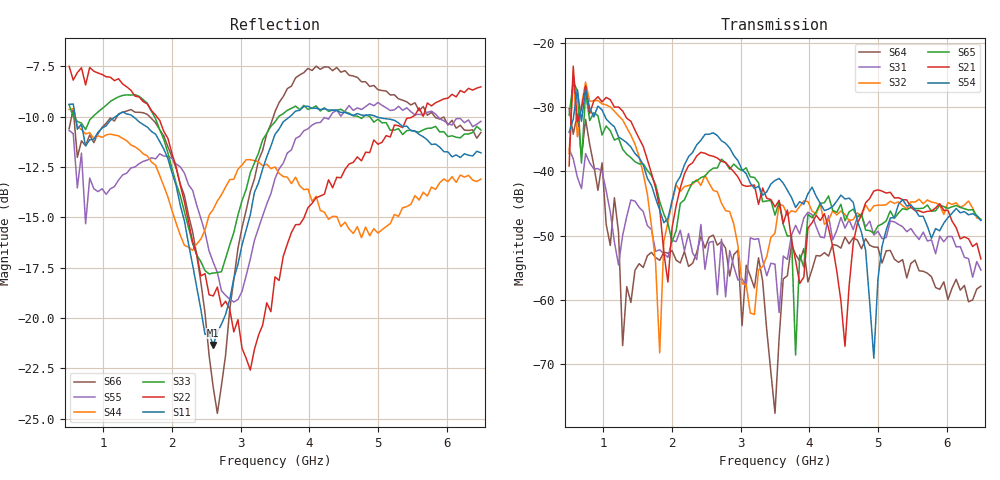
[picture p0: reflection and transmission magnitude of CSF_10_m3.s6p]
!Keysight Technologies,M9804A,MY58100912,A.14.10.03
!Date: Thursday, April 27, 2023 10:28:33
!Correction: S11(C  6-Port  )
!S12(C  6-Port  )
!S13(C  6-Port  )
!S14(C  6-Port  )
!S15(C  6-Port  )
!S16(C  6-Port  )
!S21(C  6-Port  )
!S22(C  6-Port  )
!S23(C  6-Port  )
!S24(C  6-Port  )
!S25(C  6-Port  )
!S26(C  6-Port  )
!S31(C  6-Port  )
!S32(C  6-Port  )
!S33(C  6-Port  )
!S34(C  6-Port  )
!S35(C  6-Port  )
!S36(C  6-Port  )
!S41(C  6-Port  )
!S42(C  6-Port  )
!S43(C  6-Port  )
!S44(C  6-Port  )
!S45(C  6-Port  )
!S46(C  6-Port  )
!S51(C  6-Port  )
!S52(C  6-Port  )
!S53(C  6-Port  )
!S54(C  6-Port  )
!S55(C  6-Port  )
!S56(C  6-Port  )
!S61(C  6-Port  )
!S62(C  6-Port  )
!S63(C  6-Port  )
!S64(C  6-Port  )
!S65(C  6-Port  )
!S66(C  6-Port  )
!S6P File: Measurement: :
# Hz S  RI  R 50
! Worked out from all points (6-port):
!   101 points, 500 MHz to 6.5 GHz, reference 50 ohm
!   strongest paths, dB at 500 MHz, 2 GHz, 3.5 GHz, 5 GHz, 6.5 GHz:
!     S54: -33.9, -44.5, -41.4, -56.8, -47.7
!     S21: -39.1, -48.8, -45.5, -42.9, -53.6
!     S65: -31.2, -50.9, -46.8, -48.5, -47.5
!     S32: -37.2, -44.9, -49.6, -45.3, -47.4
!     S31: -36.5, -50.8, -54.5, -49.3, -55.4
!     S64: -30.2, -52.4, -77.8, -51.8, -57.9
!   lowest |S11| = -21.3 dB at 2.6 GHz (marker M1), VSWR 1.19, Z = 42.4 + j2.2 ohm
!   |S11| at or under -10 dB: 590.2 MHz to 1.174 GHz (584.3 MHz wide, 66.2 % of centre); 1.434 GHz to 3.715 GHz (2.28 GHz wide, 88.6 % of centre); 4.975 GHz to end of sweep
